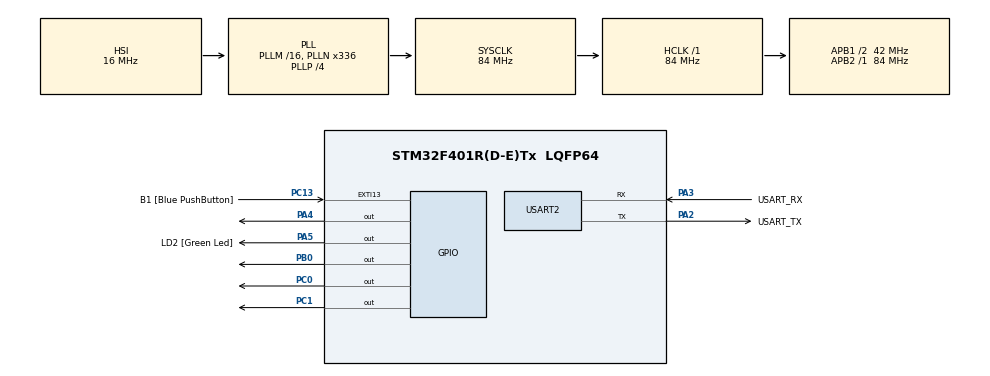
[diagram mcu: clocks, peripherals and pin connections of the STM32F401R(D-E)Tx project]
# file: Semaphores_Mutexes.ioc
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FREERTOS.CountingSemaphores01=semFull,5,Dynamic,NULL,0;semEmpty,5,Dynamic,NULL,0
FREERTOS.Mutexes01=myMutex01,Dynamic,NULL,Depleted;bufferMutex,Dynamic,NULL,Available
FREERTOS.Tasks01=defaultTask,0,128,StartDefaultTask,Default,NULL,Dynamic,NULL,NULL;myTask02,-3,128,StartTask02,Default,NULL,Dynamic,NULL,NULL;myTask03,-3,128,StartTask03,Default,NULL,Dynamic,NULL,NULL;myTask04,-3,128,StartTask04,Default,NULL,Dynamic,NULL,NULL;producer1,0,128,ProducerTask,Default,NULL,Dynamic,NULL,NULL;producer2,0,128,ProducerTask,Default,NULL,Dynamic,NULL,NULL;consumer1,0,128,ConsumerTask,Default,NULL,Dynamic,NULL,NULL;consumer2,0,128,ConsumerTask,Default,NULL,Dynamic,NULL,NULL
FREERTOS.configUSE_COUNTING_SEMAPHORES=1
Mcu.Family=STM32F4
Mcu.Name=STM32F401R(D-E)Tx
Mcu.Package=LQFP64
NVIC.PriorityGroup=NVIC_PRIORITYGROUP_4
PA13.GPIO_Label=TMS
PA13.Mode=Trace_Asynchronous_SW
PA13.Signal=SYS_JTMS-SWDIO
PA14.GPIO_Label=TCK
PA14.Mode=Trace_Asynchronous_SW
PA14.Signal=SYS_JTCK-SWCLK
PA2.GPIO_Label=USART_TX
PA2.GPIO_Mode=GPIO_MODE_AF_PP
PA2.GPIO_PuPd=GPIO_NOPULL
PA2.GPIO_Speed=GPIO_SPEED_FREQ_LOW
PA2.Mode=Asynchronous
PA2.Signal=USART2_TX
PA3.GPIO_Label=USART_RX
PA3.GPIO_Mode=GPIO_MODE_AF_PP
PA3.GPIO_PuPd=GPIO_NOPULL
PA3.GPIO_Speed=GPIO_SPEED_FREQ_LOW
PA3.Mode=Asynchronous
PA3.Signal=USART2_RX
PA4.Signal=GPIO_Output
PA5.GPIO_Label=LD2 [Green Led]
PA5.GPIO_Mode=GPIO_MODE_OUTPUT_PP
PA5.GPIO_PuPd=GPIO_NOPULL
PA5.GPIO_Speed=GPIO_SPEED_FREQ_LOW
PA5.Signal=GPIO_Output
PB0.Signal=GPIO_Output
PB3.GPIO_Label=SWO
PB3.Mode=Trace_Asynchronous_SW
PB3.Signal=SYS_JTDO-SWO
PC0.Signal=GPIO_Output
PC1.Signal=GPIO_Output
PC13-ANTI_TAMP.GPIO_Label=B1 [Blue PushButton]
PC13-ANTI_TAMP.GPIO_ModeDefaultEXTI=GPIO_MODE_IT_FALLING
PC13-ANTI_TAMP.GPIO_PuPd=GPIO_NOPULL
PC13-ANTI_TAMP.Signal=GPXTI13
PC14-OSC32_IN.Mode=LSE-External-Oscillator
PC14-OSC32_IN.Signal=RCC_OSC32_IN
PC15-OSC32_OUT.Mode=LSE-External-Oscillator
PC15-OSC32_OUT.Signal=RCC_OSC32_OUT
PH0\ -\ OSC_IN.Mode=HSE-External-Clock-Source
PH0\ -\ OSC_IN.Signal=RCC_OSC_IN
PH1\ -\ OSC_OUT.Mode=HSE-External-Clock-Source
PH1\ -\ OSC_OUT.Signal=RCC_OSC_OUT
ProjectManager.HeapSize=0x200
ProjectManager.StackSize=0x400
ProjectManager.TargetToolchain=STM32CubeIDE
RCC.48MHZClocksFreq_Value=48000000
RCC.AHBFreq_Value=84000000
RCC.APB1CLKDivider=RCC_HCLK_DIV2
RCC.APB1Freq_Value=42000000
RCC.APB1TimFreq_Value=84000000
RCC.APB2Freq_Value=84000000
RCC.APB2TimFreq_Value=84000000
RCC.CortexFreq_Value=84000000
RCC.HCLKFreq_Value=84000000
RCC.HSE_VALUE=8000000
RCC.HSI_VALUE=16000000
RCC.PLLN=336
RCC.PLLP=RCC_PLLP_DIV4
RCC.PLLQ=7
RCC.SYSCLKFreq_VALUE=84000000
RCC.SYSCLKSource=RCC_SYSCLKSOURCE_PLLCLK
RCC.VCOOutputFreq_Value=336000000
USART2.VirtualMode=VM_ASYNC
VP_FREERTOS_VS_CMSIS_V1.Mode=CMSIS_V1
board=NUCLEO-F401RE

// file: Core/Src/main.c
/* USER CODE BEGIN Header */
/**
  ******************************************************************************
  * @file           : main.c
  * @brief          : Main program body
  ******************************************************************************
  * @attention
  *
  * Copyright (c) 2025 STMicroelectronics.
  * All rights reserved.
  *
  * This software is licensed under terms that can be found in the LICENSE file
  * in the root directory of this software component.
  * If no LICENSE file comes with this software, it is provided AS-IS.
  *
  ******************************************************************************
  */
/* USER CODE END Header */
#include "main.h"
#include "cmsis_os.h"

/* USER CODE BEGIN Includes */
#include "semphr.h"
#include "FreeRTOS.h"
#include <stdio.h>
#include "string.h"
/* USER CODE END Includes */

/* USER CODE BEGIN PM */
#define BUFFER_SIZE 5
/* USER CODE END PM */

UART_HandleTypeDef huart2;

osThreadId defaultTaskHandle;
osThreadId myTask02Handle;
osThreadId myTask03Handle;
osThreadId myTask04Handle;
osThreadId producer1Handle;
osThreadId producer2Handle;
osThreadId consumer1Handle;
osThreadId consumer2Handle;
osMutexId myMutex01Handle;
osMutexId bufferMutexHandle;
osSemaphoreId semFullHandle;	// Tracks full spots
osSemaphoreId semEmptyHandle;	// Tracks empty spots
/* USER CODE BEGIN PV */
SemaphoreHandle_t xSemaphore;

int buffer[BUFFER_SIZE];
int in = 0;
int out = 0;
/* USER CODE END PV */

void SystemClock_Config(void);
static void MX_GPIO_Init(void);
static void MX_USART2_UART_Init(void);
void StartDefaultTask(void const * argument);
void StartTask02(void const * argument);
void StartTask03(void const * argument);
void StartTask04(void const * argument);
void ProducerTask(void const * argument);
void ConsumerTask(void const * argument);

int main(void)
{

  /* MCU Configuration--------------------------------------------------------*/

  /* Reset of all peripherals, Initializes the Flash interface and the Systick. */
  HAL_Init();

  /* Configure the system clock */
  SystemClock_Config();

  /* Initialize all configured peripherals */
  MX_GPIO_Init();
  MX_USART2_UART_Init();

  /* Create the mutex(es) */
  /* definition and creation of myMutex01 */
  osMutexDef(myMutex01);
  myMutex01Handle = osMutexCreate(osMutex(myMutex01));

  /* definition and creation of bufferMutex */
  osMutexDef(bufferMutex);
  bufferMutexHandle = osMutexCreate(osMutex(bufferMutex));

  /* Create the semaphores(s) */
  /* definition and creation of semFull */
  osSemaphoreDef(semFull);
  semFullHandle = osSemaphoreCreate(osSemaphore(semFull), BUFFER_SIZE);
  for (int i = 0; i < BUFFER_SIZE; i++) {
        osSemaphoreWait(semFullHandle, 0); // Consume all full places, to init count at 0
  }
  /* definition and creation of semEmpty */
  osSemaphoreDef(semEmpty);
  semEmptyHandle = osSemaphoreCreate(osSemaphore(semEmpty), BUFFER_SIZE);

  /* USER CODE BEGIN RTOS_SEMAPHORES */
  /* add semaphores, ... */
  xSemaphore = xSemaphoreCreateBinary();
  xSemaphoreGive(xSemaphore);

  /* USER CODE END RTOS_SEMAPHORES */

  /* Create the thread(s) */
  /* definition and creation of defaultTask */
  osThreadDef(defaultTask, StartDefaultTask, osPriorityNormal, 0, 128);
  defaultTaskHandle = osThreadCreate(osThread(defaultTask), NULL);

  /* definition and creation of myTask02 */
  osThreadDef(myTask02, StartTask02, osPriorityIdle, 0, 128);
  myTask02Handle = osThreadCreate(osThread(myTask02), NULL);

  /* definition and creation of myTask03 */
  osThreadDef(myTask03, StartTask03, osPriorityIdle, 0, 128);
  myTask03Handle = osThreadCreate(osThread(myTask03), NULL);

  /* definition and creation of myTask04 */
  osThreadDef(myTask04, StartTask04, osPriorityIdle, 0, 128);
  myTask04Handle = osThreadCreate(osThread(myTask04), NULL);

  /* definition and creation of producer1 */
  osThreadDef(producer1, ProducerTask, osPriorityNormal, 0, 128);
  producer1Handle = osThreadCreate(osThread(producer1), (void*)1);

  /* definition and creation of producer2 */
  osThreadDef(producer2, ProducerTask, osPriorityNormal, 0, 128);
  producer2Handle = osThreadCreate(osThread(producer2), (void*)2);

  /* definition and creation of consumer1 */
  osThreadDef(consumer1, ConsumerTask, osPriorityNormal, 0, 128);
  consumer1Handle = osThreadCreate(osThread(consumer1), (void*)1);

  /* definition and creation of consumer2 */
  osThreadDef(consumer2, ConsumerTask, osPriorityNormal, 0, 128);
  consumer2Handle = osThreadCreate(osThread(consumer2), (void*)2);

  /* Start scheduler */
  osKernelStart();

  /* We should never get here as control is now taken by the scheduler */

  /* Infinite loop */
  while (1)
  {

  }
}

void SystemClock_Config(void)
{
  RCC_OscInitTypeDef RCC_OscInitStruct = {0};
  RCC_ClkInitTypeDef RCC_ClkInitStruct = {0};

  /** Configure the main internal regulator output voltage
  */
  __HAL_RCC_PWR_CLK_ENABLE();
  __HAL_PWR_VOLTAGESCALING_CONFIG(PWR_REGULATOR_VOLTAGE_SCALE2);

  /** Initializes the RCC Oscillators according to the specified parameters
  * in the RCC_OscInitTypeDef structure.
  */
  RCC_OscInitStruct.OscillatorType = RCC_OSCILLATORTYPE_HSI;
  RCC_OscInitStruct.HSIState = RCC_HSI_ON;
  RCC_OscInitStruct.HSICalibrationValue = RCC_HSICALIBRATION_DEFAULT;
  RCC_OscInitStruct.PLL.PLLState = RCC_PLL_ON;
  RCC_OscInitStruct.PLL.PLLSource = RCC_PLLSOURCE_HSI;
  RCC_OscInitStruct.PLL.PLLM = 16;
  RCC_OscInitStruct.PLL.PLLN = 336;
  RCC_OscInitStruct.PLL.PLLP = RCC_PLLP_DIV4;
  RCC_OscInitStruct.PLL.PLLQ = 7;
  if (HAL_RCC_OscConfig(&RCC_OscInitStruct) != HAL_OK)
  {
    Error_Handler();
  }

  /** Initializes the CPU, AHB and APB buses clocks
  */
  RCC_ClkInitStruct.ClockType = RCC_CLOCKTYPE_HCLK|RCC_CLOCKTYPE_SYSCLK
                              |RCC_CLOCKTYPE_PCLK1|RCC_CLOCKTYPE_PCLK2;
  RCC_ClkInitStruct.SYSCLKSource = RCC_SYSCLKSOURCE_PLLCLK;
  RCC_ClkInitStruct.AHBCLKDivider = RCC_SYSCLK_DIV1;
  RCC_ClkInitStruct.APB1CLKDivider = RCC_HCLK_DIV2;
  RCC_ClkInitStruct.APB2CLKDivider = RCC_HCLK_DIV1;

  if (HAL_RCC_ClockConfig(&RCC_ClkInitStruct, FLASH_LATENCY_2) != HAL_OK)
  {
    Error_Handler();
  }
}

static void MX_USART2_UART_Init(void)
{

  huart2.Instance = USART2;
  huart2.Init.BaudRate = 115200;
  huart2.Init.WordLength = UART_WORDLENGTH_8B;
  huart2.Init.StopBits = UART_STOPBITS_1;
  huart2.Init.Parity = UART_PARITY_NONE;
  huart2.Init.Mode = UART_MODE_TX_RX;
  huart2.Init.HwFlowCtl = UART_HWCONTROL_NONE;
  huart2.Init.OverSampling = UART_OVERSAMPLING_16;
  if (HAL_UART_Init(&huart2) != HAL_OK)
  {
    Error_Handler();
  }

}

static void MX_GPIO_Init(void)
{
  GPIO_InitTypeDef GPIO_InitStruct = {0};

  /* GPIO Ports Clock Enable */
  __HAL_RCC_GPIOC_CLK_ENABLE();
  __HAL_RCC_GPIOH_CLK_ENABLE();
  __HAL_RCC_GPIOA_CLK_ENABLE();
  __HAL_RCC_GPIOB_CLK_ENABLE();

  /*Configure GPIO pin Output Level */
  HAL_GPIO_WritePin(GPIOC, GPIO_PIN_0|GPIO_PIN_1, GPIO_PIN_RESET);

  /*Configure GPIO pin Output Level */
  HAL_GPIO_WritePin(GPIOA, GPIO_PIN_4|LD2_Pin, GPIO_PIN_RESET);

  /*Configure GPIO pin Output Level */
  HAL_GPIO_WritePin(GPIOB, GPIO_PIN_0, GPIO_PIN_RESET);

  /*Configure GPIO pin : B1_Pin */
  GPIO_InitStruct.Pin = B1_Pin;
  GPIO_InitStruct.Mode = GPIO_MODE_IT_FALLING;
  GPIO_InitStruct.Pull = GPIO_NOPULL;
  HAL_GPIO_Init(B1_GPIO_Port, &GPIO_InitStruct);

  /*Configure GPIO pins : PC0 PC1 */
  GPIO_InitStruct.Pin = GPIO_PIN_0|GPIO_PIN_1;
  GPIO_InitStruct.Mode = GPIO_MODE_OUTPUT_PP;
  GPIO_InitStruct.Pull = GPIO_NOPULL;
  GPIO_InitStruct.Speed = GPIO_SPEED_FREQ_LOW;
  HAL_GPIO_Init(GPIOC, &GPIO_InitStruct);

  /*Configure GPIO pins : PA4 LD2_Pin */
  GPIO_InitStruct.Pin = GPIO_PIN_4|LD2_Pin;
  GPIO_InitStruct.Mode = GPIO_MODE_OUTPUT_PP;
  GPIO_InitStruct.Pull = GPIO_NOPULL;
  GPIO_InitStruct.Speed = GPIO_SPEED_FREQ_LOW;
  HAL_GPIO_Init(GPIOA, &GPIO_InitStruct);

  /*Configure GPIO pin : PB0 */
  GPIO_InitStruct.Pin = GPIO_PIN_0;
  GPIO_InitStruct.Mode = GPIO_MODE_OUTPUT_PP;
  GPIO_InitStruct.Pull = GPIO_NOPULL;
  GPIO_InitStruct.Speed = GPIO_SPEED_FREQ_LOW;
  HAL_GPIO_Init(GPIOB, &GPIO_InitStruct);

}

void StartDefaultTask(void const * argument)
{
  /* USER CODE BEGIN 5 */
  /* Infinite loop */
  for(;;)
  {
	  if (xSemaphoreTake(xSemaphore, portMAX_DELAY) == pdTRUE)
	  {
		  // Critical Section Start
	  	  for (uint8_t i = 0; i < 5; i++) {
	  		  HAL_GPIO_TogglePin(GPIOC, GPIO_PIN_0);
	  		  vTaskDelay(pdMS_TO_TICKS(1000));
	  	  }
	  	  // Critical Section End
	  	  xSemaphoreGive(xSemaphore);
	  }
	  HAL_GPIO_WritePin(GPIOC, GPIO_PIN_0, GPIO_PIN_SET);
	  vTaskDelay(pdMS_TO_TICKS(100)); // Non-critical work
  }
  /* USER CODE END 5 */
}

void StartTask02(void const * argument)
{
  /* USER CODE BEGIN StartTask02 */
  /* Infinite loop */
  for(;;)
  {
	  if (xSemaphoreTake(xSemaphore, portMAX_DELAY) == pdTRUE)
	  {
		  // Critical Section Start
		  for (uint8_t i = 0; i < 5; i++) {
			  HAL_GPIO_TogglePin(GPIOC, GPIO_PIN_1);
			  vTaskDelay(pdMS_TO_TICKS(1000));
		  }
	  	  // Critical Section End
	  	  xSemaphoreGive(xSemaphore);
	  }
	  HAL_GPIO_WritePin(GPIOC, GPIO_PIN_1, GPIO_PIN_SET);
	  vTaskDelay(pdMS_TO_TICKS(100)); // Non-critical work
  }
  /* USER CODE END StartTask02 */
}

void StartTask03(void const * argument)
{
  /* USER CODE BEGIN StartTask03 */
  /* Infinite loop */
  for(;;)
  {
	  if (osMutexWait(myMutex01Handle, osWaitForever) == osOK) // Task is blocked until lock acquired
	  {
		  for (uint8_t i = 0; i < 5; i++)
		  {
			  HAL_GPIO_TogglePin(GPIOA, GPIO_PIN_4);
			  vTaskDelay(pdMS_TO_TICKS(1000));
		  }
		  osMutexRelease(myMutex01Handle);
		  vTaskDelay(pdMS_TO_TICKS(1));  // Small delay to improve fairness (1 task will win every time when they have same priority)
	  } // No else, task is blocked

  }
  /* USER CODE END StartTask03 */
}

void StartTask04(void const * argument)
{
  /* USER CODE BEGIN StartTask04 */
  /* Infinite loop */
  for(;;)
  {
	  if (osMutexWait(myMutex01Handle, osWaitForever) == osOK) // Task is blocked until lock acquired
	  {
		  for (uint8_t i = 0; i < 5; i++)
		  {
			  HAL_GPIO_TogglePin(GPIOB, GPIO_PIN_0);
			  vTaskDelay(pdMS_TO_TICKS(1000));
		  }
		  osMutexRelease(myMutex01Handle);
		  vTaskDelay(pdMS_TO_TICKS(1));  // Small delay to improve fairness (1 task will win every time when they have same priority)
	  } // No else, task is blocked
  }
  /* USER CODE END StartTask04 */
}

void ProducerTask(void const * argument)
{
  /* USER CODE BEGIN ProducerTask */
  int id = (int)argument;
  char stringBuffer[25];
  sprintf(stringBuffer, " + Produced by %d \r\n", id);
  uint32_t value = 0;
  /* Infinite loop */
  for(;;)
  {
	value++;  										// Simulate data generation
	osSemaphoreWait(semEmptyHandle, osWaitForever); // Wait, if buffer full
	osMutexWait(bufferMutexHandle, osWaitForever);  // Lock buffer
	buffer[in] = value;
	HAL_UART_Transmit(&huart2, (uint8_t*)stringBuffer, strlen(stringBuffer), HAL_MAX_DELAY);
	in = (in + 1) % BUFFER_SIZE;
	osMutexRelease(bufferMutexHandle);              // Unlock buffer
	osSemaphoreRelease(semFullHandle);              // Signal new item
    osDelay(5000);
  }
  /* USER CODE END ProducerTask */
}

void ConsumerTask(void const * argument)
{
  /* USER CODE BEGIN ConsumerTask */
  int id = (int)argument;
  char stringBuffer[25];
  sprintf(stringBuffer, " --- Consumed by %d \r\n", id);
  uint32_t value;
  /* Infinite loop */
  for(;;)
  {
	osSemaphoreWait(semFullHandle, osWaitForever); // Wait for data
	osMutexWait(bufferMutexHandle, osWaitForever); // Lock buffer
	value = buffer[out];
	HAL_UART_Transmit(&huart2, (uint8_t*)stringBuffer, strlen(stringBuffer), HAL_MAX_DELAY);
	out = (out + 1) % BUFFER_SIZE;
	osMutexRelease(bufferMutexHandle); 			   // Unlock buffer
	osSemaphoreRelease(semEmptyHandle); 		   // Signal space available
    osDelay(5000);
  }
  /* USER CODE END ConsumerTask */
}

void Error_Handler(void)
{
  __disable_irq();
  while (1)
  {
  }
}
